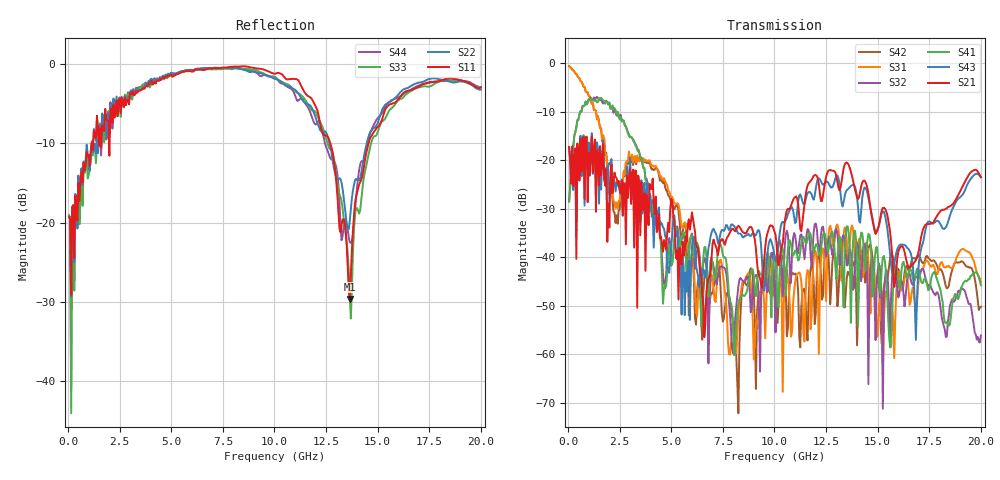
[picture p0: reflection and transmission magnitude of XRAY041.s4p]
# MHz MA S R 50.0
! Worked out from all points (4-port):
!   400 points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, 50 MHz to 20 GHz, reference 50 ohm
!   strongest paths, dB at 50 MHz, 5.05 GHz, 10.05 GHz, 15.05 GHz, 20 GHz:
!     S21: -17.2, -28.6, -35.3, -33.5, -23.5
!     S43: -17.3, -34.9, -40.8, -33.7, -23.4
!     S41: -28.5, -41.3, -40.5, -42.8, -45.8
!     S32: -28.5, -40.9, -55.5, -41.2, -56.1
!     S31: -0.6, -27.5, -42.7, -50.3, -45.0
!     S42: -0.6, -28.9, -46.4, -44.6, -50.2
!   lowest |S11| = -29.6 dB at 13.65 GHz (marker M1), VSWR 1.07, Z = 52.7 - j2.03 ohm
!   |S11| at or under -10 dB: start of sweep to 1.144 GHz; 1.156 GHz to 1.218 GHz (61.56 MHz wide, 5.19 % of centre); 12.71 GHz to 14.56 GHz (1.852 GHz wide, 13.6 % of centre)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
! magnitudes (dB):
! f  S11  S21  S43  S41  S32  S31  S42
! 50 MHz  -19.3  -17.2  -17.3  -28.5  -28.5  -0.6  -0.6
! 8.25 GHz  -0.3  -33.5  -35.1  -49.4  -46.0  -51.4  -72.2
! 13.65 GHz  -29.6  -21.6  -25.5  -39.6  -38.3  -36.9  -43.9
! 15.1 GHz  -7.6  -32.5  -32.7  -47.4  -41.8  -48.6  -47.6
! 15.25 GHz  -6.7  -29.8  -30.5  -40.0  -71.2  -62.9  -48.7
! 16.85 GHz  -3.0  -40.6  -57.0  -43.3  -44.0  -51.6  -40.4
! 20 GHz  -3.0  -23.5  -23.4  -45.8  -56.1  -45.0  -50.2
